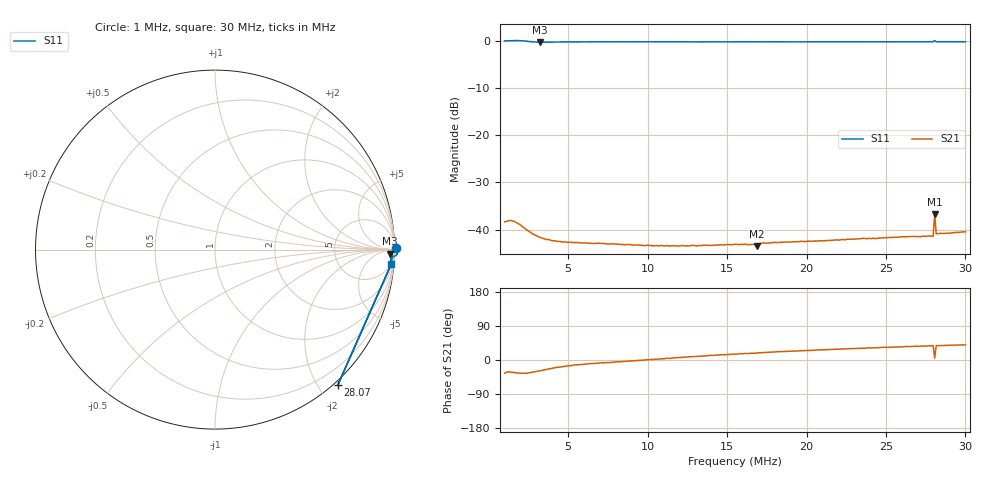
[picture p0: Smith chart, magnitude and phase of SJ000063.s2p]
!File created by NanoVNA-F V2
# Hz S RI R 50
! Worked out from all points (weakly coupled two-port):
!   301 points, 1 MHz to 30 MHz, reference 50 ohm
!   highest |S21| = -36.70 dB at 28.07 MHz (marker M1); lowest = -43.5 dB at 16.85 MHz (marker M2)
!   lowest |S11| = -0.2 dB at 3.223 MHz (marker M3), VSWR 76.04, Z = 2.1e+03 - j1.89e+03 ohm
!   |S11| at or under -10 dB: nowhere
!   S12 and S22 are empty: the file has one direction only
!   S11 on the Smith chart (normalised r, x): 1 MHz: open; 28.07 MHz: -0.05, -2.26; 30 MHz: 4, -23
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1000000  1.007 0.00796  0.00986 -0.00693  0 0  0 0
1289998  1.013 0.00244  0.0106 -0.00647  0 0  0 0
1579996  1.015 -0.00651  0.0103 -0.00663  0 0  0 0
1966660  1.016 -0.0249  0.00923 -0.00642  0 0  0 0
2449990  0.9942 -0.0401  0.00806 -0.00551  0 0  0 0
3223318  0.9738 -0.0231  0.00727 -0.00394  0 0  0 0
3609982  0.9771 -0.0176  0.00707 -0.00334  0 0  0 0
4383310  0.9794 -0.0139  0.00703 -0.00244  0 0  0 0
5833300  0.9854 -0.0179  0.00705 -0.00148  0 0  0 0
1.06666e7  0.9838 -0.0324  0.00671 0.000269  0 0  0 0
1.308325e7  0.9839 -0.0371  0.00659 0.00111  0 0  0 0
1.54999e7  0.9822 -0.0441  0.00673 0.00184  0 0  0 0
1.665989e7  0.983 -0.0474  0.00663 0.00215  0 0  0 0
1.685322e7  0.9835 -0.0482  0.00633 0.00204  0 0  0 0
1.694989e7  0.9827 -0.0472  0.00665 0.0023  0 0  0 0
1.704656e7  0.982 -0.0483  0.00677 0.00229  0 0  0 0
2.03332e7  0.9821 -0.0562  0.00676 0.00325  0 0  0 0
2.51665e7  0.9837 -0.07  0.00685 0.00456  0 0  0 0
2.796981e7  0.9828 -0.0792  0.00672 0.0052  0 0  0 0
2.806648e7  0.6851 -0.7529  0.0146 0.00123  0 0  0 0
2.816315e7  0.9832 -0.0775  0.00711 0.00553  0 0  0 0
2.99998e7  0.9829 -0.083  0.00724 0.00609  0 0  0 0
